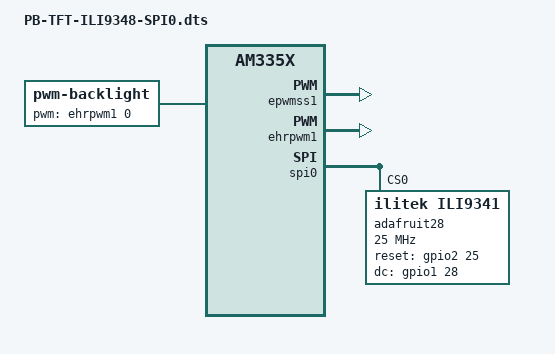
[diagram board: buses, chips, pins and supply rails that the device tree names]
/*
 * SPI-based ILI9341 LCD device tree for a generic LCD display using the pocketbeagle SPI0.
 *
 * Build
 *  dtc -O dtb -o PB-TFT-ILI9348-SPI0.dtbo -b 0 -@ PB-TFT-ILI9348-SPI0.dts
 *
 * Install
 *  sudo cp PB-TFT-ILI9348-SPI0.dtbo /lib/firmware
 *  edit /boot/uEnv.txt as root and replace the ###Custom Cape line as shown below
 *
 *   ###Custom Cape
 *   dtb_overlay=/lib/firmware/PB-TFT-ILI9348-SPI0.dtbo
 *
 * Reboot and you should be rewarded by a lit LCD and a /dev/fb0 entry for your pleasure.
 *
 * Based on the work by: AnthonyDiGirolamo
 *
 */
/dts-v1/;
/plugin/;

/ {
compatible = "ti,am335x-pocketbeagle";

/* identification */
part-number = "PB-TFT-ILI9348-SPI0";

/* version */
version = "00A0";

/* stat the resources this cape uses */
exclusive-use = 
	/* the pin header uses */
	"P1.8",		/* spi0_sclk */
	"P1.10",	/* spi0_d0 - MISO */
	"P1.12",	/* spi0_d1 - MOSI */
	"P1.6",		/* spi0_cs0 */
	"P1.4",		/* gpio2_25 - reset */
	"P2.8",		/* gpio1_28 - dc */
	"P2.1",		/* ehrpwm1a - backlight */
	/* the hardware ip uses */
	"gpio2_25",
	"gpio1_28",
	"ehrpwm1a",
	"spi0";

	fragment@0 {
		target = <&ocp>;
		__overlay__ {
			P1_06_pinmux { status = "disabled"; };	/* LCD - CS */
			P1_08_pinmux { status = "disabled"; };	/* LCD - SCLK */
			P1_10_pinmux { status = "disabled"; };	/* LCD - MISO */
			P1_12_pinmux { status = "disabled"; };	/* LCD - MOSI */
			P2_01_pinmux { status = "disabled"; };	/* LCD - LED */
			P2_08_pinmux { status = "disabled"; };	/* LCD - DC */
			P1_04_pinmux { status = "disabled"; };	/* LCD - RST */
		};
	};

	/*
	 * Free up the gpios used by the cape-universal gpio helpers.
	 */
	fragment@1 {
		target = <&ocp>;
		__overlay__ {
			cape-universal { status = "disabled"; };
		};
	};

	/*
	 * Make a new set of gpio helpers.
	 */
	fragment@2 {
		target = <&ocp>;
		__overlay__ {
			cape-universal@1 {
				compatible = "gpio-of-helper";
				status = "okay";
				pinctrl-names = "default";
				pinctrl-0 = <>;

				P1_02 {
					gpio-name = "P1_02";
					gpio = <&gpio2 23 0>;
					input;
					dir-changeable;
				};

				P1_20 {
					gpio-name = "P1_20";
					gpio = <&gpio0 20 0>;
					input;
					dir-changeable;
				};

				P1_26 {
					gpio-name = "P1_26";
					gpio = <&gpio0 12 0>;
					input;
					dir-changeable;
				};

				P1_28 {
					gpio-name = "P1_28";
					gpio = <&gpio0 13 0>;
					input;
					dir-changeable;
				};

				P1_29 {
					gpio-name = "P1_29";
					gpio = <&gpio3 21 0>;
					input;
					dir-changeable;
				};

				P1_30 {
					gpio-name = "P1_30";
					gpio = <&gpio1 11 0>;
					input;
					dir-changeable;
				};

				P1_31 {
					gpio-name = "P1_31";
					gpio = <&gpio3 18 0>;
					input;
					dir-changeable;
				};

				P1_32 {
					gpio-name = "P1_32";
					gpio = <&gpio1 10 0>;
					input;
					dir-changeable;
				};

				P1_33 {
					gpio-name = "P1_33";
					gpio = <&gpio3 15 0>;
					input;
					dir-changeable;
				};

				P1_34 {
					gpio-name = "P1_34";
					gpio = <&gpio0 26 0>;
					input;
					dir-changeable;
				};

				P1_35 {
					gpio-name = "P1_35";
					gpio = <&gpio2 24 0>;
					input;
					dir-changeable;
				};

				P1_36 {
					gpio-name = "P1_36";
					gpio = <&gpio3 14 0>;
					input;
					dir-changeable;
				};

				P2_02 {
					gpio-name = "P2_02";
					gpio = <&gpio1 27 0>;
					input;
					dir-changeable;
				};

				P2_03 {
					gpio-name = "P2_03";
					gpio = <&gpio0 23 0>;
					input;
					dir-changeable;
				};

				P2_04 {
					gpio-name = "P2_04";
					gpio = <&gpio1 26 0>;
					input;
					dir-changeable;
				};

				P2_05 {
					gpio-name = "P2_05";
					gpio = <&gpio0 30 0>;
					input;
					dir-changeable;
				};

				P2_06 {
					gpio-name = "P2_06";
					gpio = <&gpio1 25 0>;
					input;
					dir-changeable;
				};

				P2_07 {
					gpio-name = "P2_07";
					gpio = <&gpio0 31 0>;
					input;
					dir-changeable;
				};

				P2_09 {
					gpio-name = "P2_09";
					gpio = <&gpio0 15 0>;
					input;
					dir-changeable;
				};

				P2_10 {
					gpio-name = "P2_10";
					gpio = <&gpio1 20 0>;
					input;
					dir-changeable;
				};

				P2_11 {
					gpio-name = "P2_11";
					gpio = <&gpio0 14 0>;
					input;
					dir-changeable;
				};

				P2_17 {
					gpio-name = "P2_17";
					gpio = <&gpio2 1 0>;
					input;
					dir-changeable;
				};

				P2_18 {
					gpio-name = "P2_18";
					gpio = <&gpio1 15 0>;
					input;
					dir-changeable;
				};

				P2_19 {
					gpio-name = "P2_19";
					gpio = <&gpio0 27 0>;
					input;
					dir-changeable;
				};

				P2_20 {
					gpio-name = "P2_20";
					gpio = <&gpio2 0 0>;
					input;
					dir-changeable;
				};

				P2_22 {
					gpio-name = "P2_22";
					gpio = <&gpio1 14 0>;
					input;
					dir-changeable;
				};

				P2_24 {
					gpio-name = "P2_24";
					gpio = <&gpio1 12 0>;
					input;
					dir-changeable;
				};

				P2_25 {
					gpio-name = "P2_25";
					gpio = <&gpio1 9 0>;
					input;
					dir-changeable;
				};

				P2_27 {
					gpio-name = "P2_27";
					gpio = <&gpio1 8 0>;
					input;
					dir-changeable;
				};

				P2_28 {
					gpio-name = "P2_28";
					gpio = <&gpio3 20 0>;
					input;
					dir-changeable;
				};

				P2_29 {
					gpio-name = "P2_29";
					gpio = <&gpio0 7 0>;
					input;
					dir-changeable;
				};

				P2_30 {
					gpio-name = "P2_30";
					gpio = <&gpio3 17 0>;
					input;
					dir-changeable;
				};

				P2_31 {
					gpio-name = "P2_31";
					gpio = <&gpio0 19 0>;
					input;
					dir-changeable;
				};

				P2_32 {
					gpio-name = "P2_32";
					gpio = <&gpio3 16 0>;
					input;
					dir-changeable;
				};

				P2_33 {
					gpio-name = "P2_33";
					gpio = <&gpio1 13 0>;
					input;
					dir-changeable;
				};

				P2_34 {
					gpio-name = "P2_34";
					gpio = <&gpio3 19 0>;
					input;
					dir-changeable;
				};

				P2_35 {
					gpio-name = "P2_35";
					gpio = <&gpio2 22 0>;
					input;
					dir-changeable;
				};
			};
		};
	};

	fragment@3 {
		target = <&am33xx_pinmux>;
		__overlay__ {
			pwm_bl_pins: pinmux_pwm_bl_pins {
				pinctrl-single,pins = <
					0x48 0x06       /* ehrpwm1a, MODE6 */
				>;
			};
		};
	};

	fragment@4 {
		target = <&epwmss1>;
		__overlay__ {
			status = "okay";
		};
	};

	fragment@5 {
		target = <&ehrpwm1>;
		__overlay__ {
			status = "okay";
		};
	};

	fragment@6 {
		target = <&ocp>;
		__overlay__ {
			backlight {
				compatible = "pwm-backlight";
				pinctrl-names = "default";
				pinctrl-0 = <&pwm_bl_pins>;
				status = "okay";

				pwms = <&ehrpwm1 0 500000 0>;
				pwm-names = "backlight";
				brightness-levels = <0 4 8 16 32 64 128 255>;
				default-brightness-level = <7>; /* index to the array above */
			};
		};
	};

	fragment@7 {
		target = <&spi0>;
		__overlay__ {
			#address-cells = <1>;
			#size-cells = <0>;
			status = "okay";

			channel@0 {
				status = "disabled";
			};
			channel@1 {
				status = "disabled";
			};

			adafruit28: adafruit28@0{
				compatible = "ilitek,ili9341";
				pinctrl-names = "default";
				pinctrl-0 = <
					&P1_06_spi_cs_pin	/* CS */
					&P1_08_spi_sclk_pin	/* SCLK */
					&P1_12_spi_pin		/* D1 (MOSI) */
					&P1_10_spi_pin		/* D0 (MISO) */
					&P1_04_gpio_pin		/* RST */
					&P2_08_gpio_pin		/* DC */
				>;
				reg = <0>;
				buswidth = <8>;
				reset-gpios = <&gpio2 25 0>; /* P1_04 - 89 */
				dc-gpios = <&gpio1 28 0>; /* P2_08 - 2 */
				debug = <1>;
				spi-max-frequency = <25000000>;
				rotate = <90>;
				bgr;
				fps = <30>;
			};
		};
	};

};
